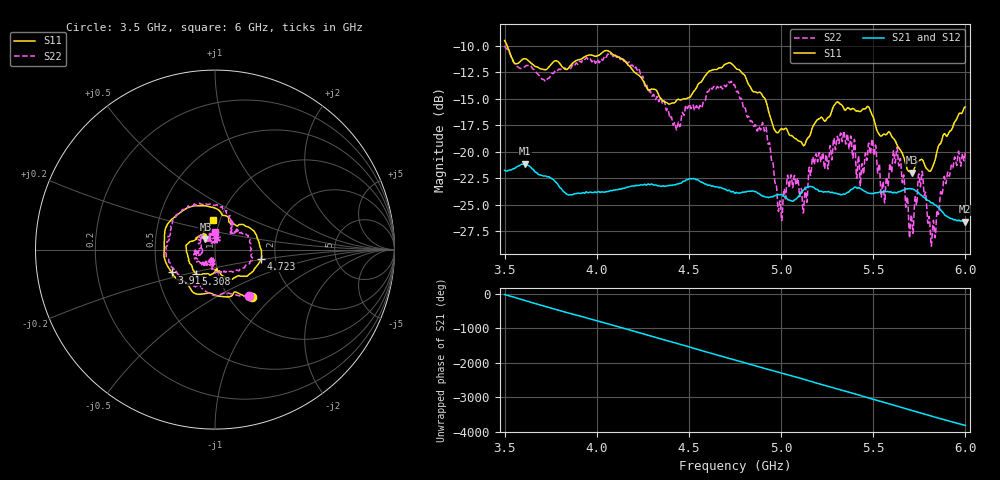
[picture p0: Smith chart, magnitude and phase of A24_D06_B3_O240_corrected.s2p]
! Created with skrf 1.9.0 (http://scikit-rf.org).
# Hz S RI R 50.0
!freq ReS11 ImS11 ReS21 ImS21 ReS12 ImS12 ReS22 ImS22
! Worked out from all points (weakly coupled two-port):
!   1601 points, 3.5 GHz to 6 GHz, reference 50 ohm
!   highest |S21| = -21.14 dB at 3.609 GHz (marker M1); lowest = -26.6 dB at 5.995 GHz (marker M2)
!   lowest |S11| = -22.0 dB at 5.711 GHz (marker M3), VSWR 1.17, Z = 44.7 + j5.34 ohm
!   |S11| at or under -10 dB: 3.514 GHz to end of sweep
!   |S22| runs from -28.9 to -10.0 dB; largest |S21 - S12| = 0.00097
!   S11 on the Smith chart (normalised r, x): 3.5 GHz: 1.27, -0.75; 3.913 GHz: 0.59, -0.16; 4.723 GHz: 1.68, -0.18; 5.308 GHz: 0.78, -0.22; 6 GHz: 0.93, +0.31
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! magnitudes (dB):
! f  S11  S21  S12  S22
! 3.5 GHz  -9.5  -21.8  -21.7  -10.0
! 3.609 GHz  -11.2  -21.1  -21.1  -12.0
! 3.913 GHz  -11.3  -23.9  -23.9  -11.5
! 3.917 GHz  -11.2  -23.9  -23.9  -11.6
! 4.334 GHz  -14.6  -23.2  -23.2  -15.2
! 4.441 GHz  -15.1  -23.0  -23.0  -17.4
! 4.723 GHz  -11.6  -23.7  -23.6  -13.5
! 4.75 GHz  -12.0  -23.9  -23.8  -13.8
! 4.911 GHz  -14.9  -24.2  -24.2  -18.0
! 4.995 GHz  -17.9  -24.0  -24.0  -24.6
! 5.045 GHz  -18.4  -24.6  -24.5  -23.4
! 5.13 GHz  -19.3  -23.5  -23.5  -23.5
! 5.167 GHz  -17.8  -23.3  -23.3  -21.0
! 5.308 GHz  -15.3  -24.0  -23.9  -18.7
! 5.584 GHz  -18.1  -23.8  -23.7  -22.4
! 5.638 GHz  -19.6  -23.8  -23.7  -21.2
! 5.711 GHz  -22.0  -23.5  -23.4  -26.6
! 5.756 GHz  -20.8  -24.1  -24.0  -23.3
! 5.825 GHz  -21.3  -24.9  -24.8  -26.6
! 5.892 GHz  -18.4  -26.0  -25.9  -22.9
! 5.995 GHz  -15.8  -26.6  -26.5  -20.7
! 6 GHz  -15.8  -26.6  -26.5  -19.9
